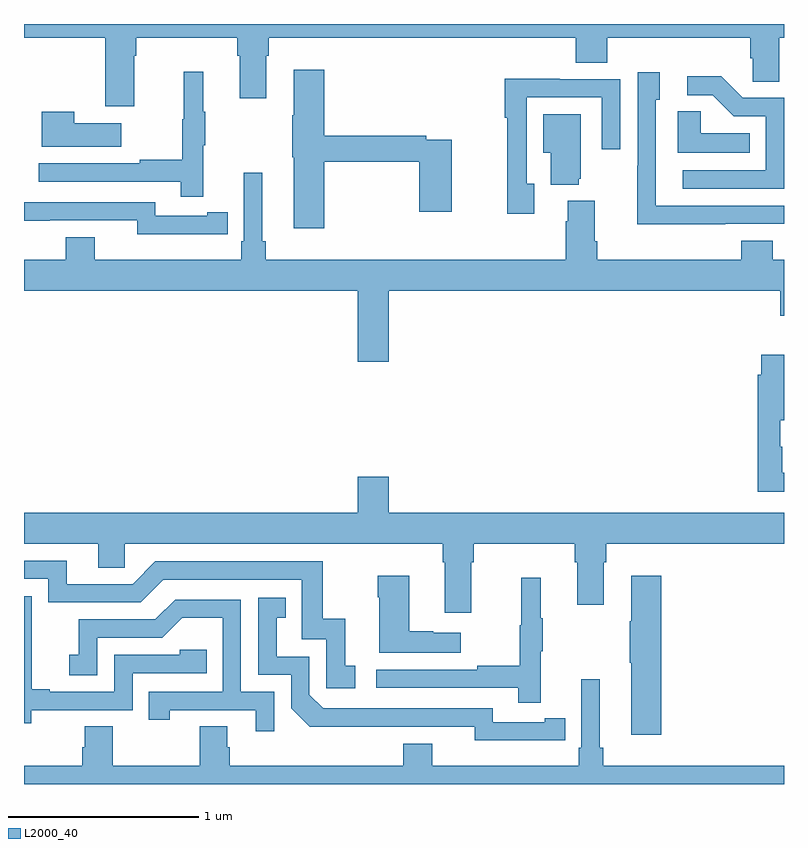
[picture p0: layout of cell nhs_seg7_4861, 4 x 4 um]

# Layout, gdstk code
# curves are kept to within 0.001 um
import gdstk
lib = gdstk.Library(unit=1e-6, precision=1e-09)
def P(c, l, *ps):  # polygons
    for p in ps: c.add(gdstk.Polygon(p, *l))
L2000_40 = (2000, 40)

nhs_seg7_4861 = lib.new_cell('nhs_seg7_4861')
P(nhs_seg7_4861, L2000_40, [(415.579,1021.832),(415.592,1021.832),(415.592,1021.928),(416.123,1021.928),(416.123,1021.832),(416.135,1021.832),(416.135,1021.608),(416.275,1021.608),(416.275,1021.832),(416.288,1021.832),(416.288,1021.928),(417.905,1021.928),(417.905,1021.795),(418.07,1021.795),(418.07,1021.928),(418.823,1021.928),(418.823,1021.819),(418.836,1021.819),(418.836,1021.696),(418.975,1021.696),(418.975,1021.928),(419,1021.928),(419,1022),(415,1022),(415,1021.928),(415.427,1021.928),(415.427,1021.566),(415.579,1021.566)],
  [(416.579,1021.276),(417.08,1021.276),(417.08,1021.011),(417.25,1021.011),(417.25,1021.392),(417.116,1021.392),(417.116,1021.412),(416.579,1021.412),(416.579,1021.759),(416.42,1021.759),(416.42,1021.52),(416.413,1021.52),(416.413,1021.299),(416.42,1021.299),(416.42,1020.924),(416.579,1020.924)],
  [(415.943,1021.363),(415.954,1021.363),(415.954,1021.537),(415.943,1021.537),(415.943,1021.75),(415.84,1021.75),(415.84,1021.5),(415.833,1021.5),(415.833,1021.286),(415.609,1021.286),(415.609,1021.266),(415.077,1021.266),(415.077,1021.17),(415.825,1021.17),(415.825,1021.092),(415.943,1021.092)],
  [(418.691,1020.948),(419,1020.948),(419,1021.044),(418.326,1021.044),(418.326,1021.602),(418.345,1021.602),(418.345,1021.747),(418.23,1021.747),(418.23,1021.253),(418.228,1021.253),(418.228,1020.947),(418.691,1020.947)],
  [(419,1021.611),(418.782,1021.611),(418.669,1021.724),(418.491,1021.724),(418.491,1021.626),(418.625,1021.626),(418.736,1021.515),(418.905,1021.515),(418.905,1021.23),(418.467,1021.23),(418.467,1021.134),(419,1021.134)],
  [(417.685,1021.158),(417.645,1021.158),(417.645,1021.614),(418.041,1021.614),(418.041,1021.341),(418.137,1021.341),(418.137,1021.71),(417.821,1021.71),(417.821,1021.712),(417.529,1021.712),(417.529,1021.507),(417.544,1021.507),(417.544,1021.002),(417.685,1021.002)],
  [(418.82,1021.426),(418.563,1021.426),(418.563,1021.541),(418.442,1021.541),(418.442,1021.322),(418.82,1021.322)],
  [(415.513,1021.477),(415.265,1021.477),(415.265,1021.537),(415.094,1021.537),(415.094,1021.355),(415.513,1021.355)],
  [(417.92,1021.185),(417.931,1021.185),(417.931,1021.525),(417.734,1021.525),(417.734,1021.322),(417.773,1021.322),(417.773,1021.154),(417.92,1021.154)],
  [(416.92,1020.596),(418.979,1020.596),(418.979,1020.465),(419,1020.465),(419,1020.76),(418.94,1020.76),(418.94,1020.859),(418.775,1020.859),(418.775,1020.76),(418.016,1020.76),(418.016,1020.856),(418.003,1020.856),(418.003,1021.069),(417.863,1021.069),(417.863,1020.962),(417.851,1020.962),(417.851,1020.76),(416.273,1020.76),(416.273,1020.856),(416.254,1020.856),(416.254,1021.216),(416.157,1021.216),(416.157,1020.856),(416.144,1020.856),(416.144,1020.76),(415.372,1020.76),(415.372,1020.877),(415.22,1020.877),(415.22,1020.76),(415,1020.76),(415,1020.596),(416.756,1020.596),(416.756,1020.222),(416.92,1020.222)],
  [(415.964,1020.894),(416.072,1020.894),(416.072,1021.01),(415.964,1021.01),(415.964,1020.99),(415.692,1020.99),(415.692,1021.062),(415,1021.062),(415,1020.965),(415.136,1020.965),(415.136,1020.966),(415.596,1020.966),(415.596,1020.893),(415.964,1020.893)],
  [(419,1019.639),(418.99,1019.639),(418.99,1019.775),(418.979,1019.775),(418.979,1019.915),(419,1019.915),(419,1020.259),(418.88,1020.259),(418.88,1020.155),(418.861,1020.155),(418.861,1019.538),(419,1019.538)],
  [(417.355,1019.168),(417.368,1019.168),(417.368,1019.264),(417.899,1019.264),(417.899,1019.168),(417.911,1019.168),(417.911,1018.944),(418.051,1018.944),(418.051,1019.168),(418.064,1019.168),(418.064,1019.264),(419,1019.264),(419,1019.428),(416.92,1019.428),(416.92,1019.617),(416.756,1019.617),(416.756,1019.428),(415,1019.428),(415,1019.264),(415.391,1019.264),(415.391,1019.137),(415.53,1019.137),(415.53,1019.264),(417.203,1019.264),(417.203,1019.168),(417.215,1019.168),(417.215,1018.902),(417.355,1018.902)],
  [(416.743,1018.623),(416.69,1018.623),(416.69,1018.87),(416.572,1018.87),(416.572,1019.172),(415.692,1019.172),(415.572,1019.052),(415.225,1019.052),(415.225,1019.175),(415,1019.175),(415,1019.079),(415.128,1019.079),(415.128,1018.956),(415.614,1018.956),(415.734,1019.076),(416.463,1019.076),(416.463,1018.761),(416.592,1018.761),(416.592,1018.503),(416.743,1018.503)],
  [(417.298,1018.795),(417.155,1018.795),(417.155,1018.805),(417.028,1018.805),(417.028,1019.095),(416.863,1019.095),(416.863,1018.982),(416.87,1018.982),(416.87,1018.691),(417.298,1018.691)],
  [(418.355,1019.095),(418.196,1019.095),(418.196,1018.856),(418.189,1018.856),(418.189,1018.639),(418.196,1018.639),(418.196,1018.26),(418.355,1018.26)],
  [(417.719,1018.699),(417.73,1018.699),(417.73,1018.873),(417.719,1018.873),(417.719,1019.086),(417.616,1019.086),(417.616,1018.836),(417.609,1018.836),(417.609,1018.622),(417.385,1018.622),(417.385,1018.602),(416.853,1018.602),(416.853,1018.506),(417.601,1018.506),(417.601,1018.428),(417.719,1018.428)],
  [(415.038,1018.389),(415.572,1018.389),(415.572,1018.584),(415.961,1018.584),(415.961,1018.707),(415.821,1018.707),(415.821,1018.68),(415.476,1018.68),(415.476,1018.485),(415.135,1018.485),(415.135,1018.498),(415.04,1018.498),(415.04,1018.781),(415.041,1018.781),(415.041,1018.987),(415,1018.987),(415,1018.321),(415.038,1018.321)],
  [(417.74,1018.23),(417.848,1018.23),(417.848,1018.346),(417.74,1018.346),(417.74,1018.326),(417.468,1018.326),(417.468,1018.398),(416.574,1018.398),(416.502,1018.47),(416.502,1018.671),(416.329,1018.671),(416.329,1018.875),(416.378,1018.875),(416.378,1018.981),(416.232,1018.981),(416.232,1018.575),(416.406,1018.575),(416.406,1018.398),(416.504,1018.301),(417.372,1018.302),(417.372,1018.229)],
  [(416.316,1018.485),(416.142,1018.485),(416.142,1018.971),(415.796,1018.971),(415.691,1018.866),(415.288,1018.866),(415.288,1018.681),(415.239,1018.681),(415.239,1018.572),(415.386,1018.572),(415.386,1018.77),(415.728,1018.77),(415.832,1018.874),(416.046,1018.874),(416.046,1018.485),(415.657,1018.485),(415.657,1018.338),(415.768,1018.338),(415.768,1018.389),(416.219,1018.389),(416.219,1018.278),(416.316,1018.278)],
  [(419,1018.096),(418.049,1018.096),(418.049,1018.192),(418.03,1018.192),(418.03,1018.552),(417.933,1018.552),(417.933,1018.192),(417.92,1018.192),(417.92,1018.096),(417.148,1018.096),(417.148,1018.213),(416.996,1018.213),(416.996,1018.096),(416.084,1018.096),(416.084,1018.194),(416.071,1018.194),(416.071,1018.304),(415.924,1018.304),(415.924,1018.096),(415.467,1018.096),(415.467,1018.304),(415.319,1018.304),(415.319,1018.194),(415.307,1018.194),(415.307,1018.096),(415,1018.096),(415,1018),(419,1018)])

lib.write_gds('nhs_seg7_4861.gds')
